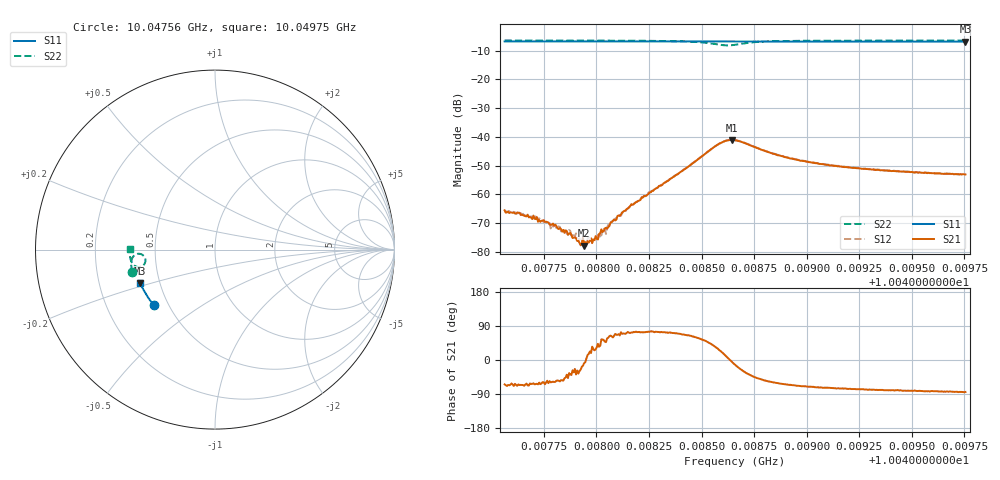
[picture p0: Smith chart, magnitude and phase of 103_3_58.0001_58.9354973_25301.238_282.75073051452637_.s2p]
#  HZ  S  RI  R  50.00
! Rohde & Schwarz Vector Network Analyzer
! Rohde-Schwarz,ZNB20-2Port,1311601062101988,3.16
! Created: UTC 3/21/2024, 12:54:54 AM
! freq[Hz]  re:S11  im:S11  re:S21  im:S21  re:S12  im:S12  re:S22  im:S22
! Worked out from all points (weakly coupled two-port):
!   401 points, 10.04756 GHz to 10.04975 GHz, reference 50 ohm
!   highest |S21| = -41.03 dB at 10.04864 GHz (marker M1); lowest = -77.8 dB at 10.04794 GHz (marker M2)
!   lowest |S11| = -6.8 dB at 10.04975 GHz (marker M3), VSWR 2.68, Z = 19.4 - j9.12 ohm
!   |S11| at or under -10 dB: nowhere
!   |S22| runs from -8.1 to -6.4 dB; largest |S21 - S12| = 0.00063
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1.0047563e10  -0.3408 -0.309  0.000229 -0.000478  0.000225 -0.000446  -0.4608 -0.1242
1.0047634e10  -0.3438 -0.3054  0.000194 -0.000439  0.000197 -0.000399  -0.4621 -0.119
1.0047717e10  -0.3472 -0.3011  0.000185 -0.00036  0.000179 -0.000346  -0.4632 -0.113
1.0047799e10  -0.3508 -0.2969  0.000152 -0.000243  0.000175 -0.000224  -0.4644 -0.1069
1.0047865e10  -0.3533 -0.2933  0.000134 -0.000146  0.000162 -0.00015  -0.4652 -0.1016
1.0047908e10  -0.3552 -0.2911  0.000138 -7.24e-05  0.000161 -3.86e-05  -0.4657 -0.0982
1.0047919e10  -0.3557 -0.2906  0.000126 -6.94e-05  0.000155 -7.5e-05  -0.4658 -0.0972
1.004793e10  -0.3561 -0.2898  0.000136 -4.39e-05  0.000131 -3.25e-05  -0.4658 -0.0963
1.0047941e10  -0.3567 -0.2892  0.000127 -1.85e-05  0.000136 -2.55e-05  -0.4659 -0.0954
1.0047952e10  -0.357 -0.2888  0.000131 9.36e-06  0.000126 -3.5e-06  -0.466 -0.0945
1.0047969e10  -0.3577 -0.2878  0.000146 6.05e-05  0.000149 3.38e-05  -0.4662 -0.0933
1.0048002e10  -0.3589 -0.2862  0.000141 9.34e-05  0.000106 0.000113  -0.4666 -0.0904
1.0048084e10  -0.3624 -0.2817  0.000161 0.000331  0.000142 0.000336  -0.4669 -0.083
1.0048155e10  -0.3651 -0.278  0.000187 0.000571  0.000164 0.000564  -0.4671 -0.0762
1.0048297e10  -0.3705 -0.2702  0.000391 0.00135  0.000314 0.00135  -0.4652 -0.0597
1.0048571e10  -0.3799 -0.2546  0.00605 0.00381  0.00582 0.00417  -0.4088 -0.0266
1.0048643e10  -0.3819 -0.2511  0.00886 -0.000602  0.00895 -3.24e-05  -0.3884 -0.0687
1.0048659e10  -0.3825 -0.2502  0.00859 -0.00189  0.00875 -0.00128  -0.3931 -0.0797
1.0048851e10  -0.3896 -0.2397  0.00249 -0.00434  0.00277 -0.0042  -0.457 -0.082
1.0049026e10  -0.3955 -0.2296  0.00117 -0.00339  0.00135 -0.00333  -0.4692 -0.0597
1.0049393e10  -0.4067 -0.208  0.000464 -0.00255  0.000591 -0.00254  -0.475 -0.0263
1.0049755e10  -0.4163 -0.1862  0.000218 -0.00222  0.000346 -0.0022  -0.4762 0.00111
